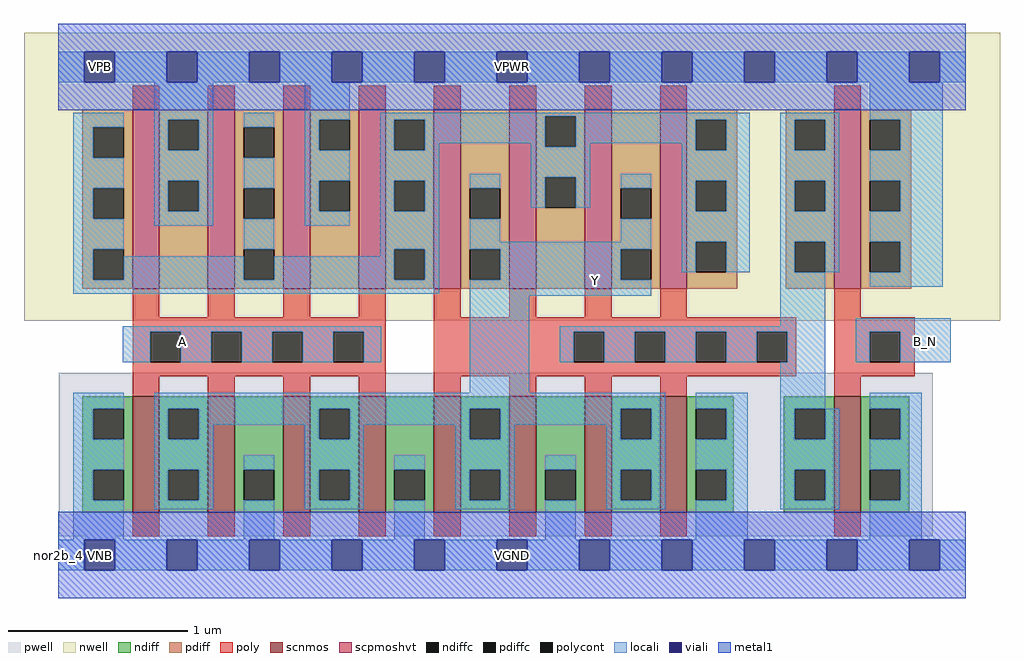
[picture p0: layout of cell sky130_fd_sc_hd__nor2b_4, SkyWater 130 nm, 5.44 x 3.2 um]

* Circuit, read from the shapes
.subckt sky130_fd_sc_hd__nor2b_4 A B_N VGND VNB VPB VPWR Y
XM1 Y A VGND VNB sky130_fd_pr__nfet_01v8 w=0.65 l=0.15 m=4
XM2 Y n1 VGND VNB sky130_fd_pr__nfet_01v8 w=0.65 l=0.15 m=4
XM3 VGND B_N n1 VNB sky130_fd_pr__nfet_01v8 w=0.65 l=0.15
XM4 VPWR A n2 VPB sky130_fd_pr__pfet_01v8_hvt w=1 l=0.15 m=4
XM5 Y n1 n2 VPB sky130_fd_pr__pfet_01v8_hvt w=1 l=0.15 m=4
XM6 VPWR B_N n1 VPB sky130_fd_pr__pfet_01v8_hvt w=1 l=0.15
.ends

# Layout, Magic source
magic
tech sky130A
magscale 1 2
<< nwell >>
rect -38 261 1050 582
<< pwell >>
rect 1 21 975 203
rect 30 -17 64 21
<< scnmos >>
rect 83 47 113 177
rect 167 47 197 177
rect 251 47 281 177
rect 335 47 365 177
rect 419 47 449 177
rect 503 47 533 177
rect 587 47 617 177
rect 671 47 701 177
rect 865 47 895 177
<< scpmoshvt >>
rect 83 297 113 497
rect 167 297 197 497
rect 251 297 281 497
rect 335 297 365 497
rect 419 297 449 497
rect 503 297 533 497
rect 587 297 617 497
rect 671 297 701 497
rect 865 297 895 497
<< ndiff >>
rect 27 163 83 177
rect 27 129 39 163
rect 73 129 83 163
rect 27 95 83 129
rect 27 61 39 95
rect 73 61 83 95
rect 27 47 83 61
rect 113 163 167 177
rect 113 129 123 163
rect 157 129 167 163
rect 113 95 167 129
rect 113 61 123 95
rect 157 61 167 95
rect 113 47 167 61
rect 197 95 251 177
rect 197 61 207 95
rect 241 61 251 95
rect 197 47 251 61
rect 281 163 335 177
rect 281 129 291 163
rect 325 129 335 163
rect 281 95 335 129
rect 281 61 291 95
rect 325 61 335 95
rect 281 47 335 61
rect 365 95 419 177
rect 365 61 375 95
rect 409 61 419 95
rect 365 47 419 61
rect 449 163 503 177
rect 449 129 459 163
rect 493 129 503 163
rect 449 95 503 129
rect 449 61 459 95
rect 493 61 503 95
rect 449 47 503 61
rect 533 95 587 177
rect 533 61 543 95
rect 577 61 587 95
rect 533 47 587 61
rect 617 163 671 177
rect 617 129 627 163
rect 661 129 671 163
rect 617 95 671 129
rect 617 61 627 95
rect 661 61 671 95
rect 617 47 671 61
rect 701 163 753 177
rect 701 129 711 163
rect 745 129 753 163
rect 701 95 753 129
rect 701 61 711 95
rect 745 61 753 95
rect 701 47 753 61
rect 809 163 865 177
rect 809 129 821 163
rect 855 129 865 163
rect 809 95 865 129
rect 809 61 821 95
rect 855 61 865 95
rect 809 47 865 61
rect 895 163 949 177
rect 895 129 905 163
rect 939 129 949 163
rect 895 95 949 129
rect 895 61 905 95
rect 939 61 949 95
rect 895 47 949 61
<< pdiff >>
rect 27 477 83 497
rect 27 443 39 477
rect 73 443 83 477
rect 27 409 83 443
rect 27 375 39 409
rect 73 375 83 409
rect 27 341 83 375
rect 27 307 39 341
rect 73 307 83 341
rect 27 297 83 307
rect 113 485 167 497
rect 113 451 123 485
rect 157 451 167 485
rect 113 417 167 451
rect 113 383 123 417
rect 157 383 167 417
rect 113 297 167 383
rect 197 477 251 497
rect 197 443 207 477
rect 241 443 251 477
rect 197 409 251 443
rect 197 375 207 409
rect 241 375 251 409
rect 197 341 251 375
rect 197 307 207 341
rect 241 307 251 341
rect 197 297 251 307
rect 281 485 335 497
rect 281 451 291 485
rect 325 451 335 485
rect 281 417 335 451
rect 281 383 291 417
rect 325 383 335 417
rect 281 297 335 383
rect 365 485 419 497
rect 365 451 375 485
rect 409 451 419 485
rect 365 417 419 451
rect 365 383 375 417
rect 409 383 419 417
rect 365 341 419 383
rect 365 307 375 341
rect 409 307 419 341
rect 365 297 419 307
rect 449 409 503 497
rect 449 375 459 409
rect 493 375 503 409
rect 449 341 503 375
rect 449 307 459 341
rect 493 307 503 341
rect 449 297 503 307
rect 533 489 587 497
rect 533 455 543 489
rect 577 455 587 489
rect 533 421 587 455
rect 533 387 543 421
rect 577 387 587 421
rect 533 297 587 387
rect 617 409 671 497
rect 617 375 627 409
rect 661 375 671 409
rect 617 341 671 375
rect 617 307 627 341
rect 661 307 671 341
rect 617 297 671 307
rect 701 485 757 497
rect 701 451 711 485
rect 745 451 757 485
rect 701 417 757 451
rect 701 383 711 417
rect 745 383 757 417
rect 701 349 757 383
rect 701 315 711 349
rect 745 315 757 349
rect 701 297 757 315
rect 811 485 865 497
rect 811 451 821 485
rect 855 451 865 485
rect 811 417 865 451
rect 811 383 821 417
rect 855 383 865 417
rect 811 349 865 383
rect 811 315 821 349
rect 855 315 865 349
rect 811 297 865 315
rect 895 485 951 497
rect 895 451 905 485
rect 939 451 951 485
rect 895 417 951 451
rect 895 383 905 417
rect 939 383 951 417
rect 895 349 951 383
rect 895 315 905 349
rect 939 315 951 349
rect 895 297 951 315
<< ndiffc >>
rect 39 129 73 163
rect 39 61 73 95
rect 123 129 157 163
rect 123 61 157 95
rect 207 61 241 95
rect 291 129 325 163
rect 291 61 325 95
rect 375 61 409 95
rect 459 129 493 163
rect 459 61 493 95
rect 543 61 577 95
rect 627 129 661 163
rect 627 61 661 95
rect 711 129 745 163
rect 711 61 745 95
rect 821 129 855 163
rect 821 61 855 95
rect 905 129 939 163
rect 905 61 939 95
<< pdiffc >>
rect 39 443 73 477
rect 39 375 73 409
rect 39 307 73 341
rect 123 451 157 485
rect 123 383 157 417
rect 207 443 241 477
rect 207 375 241 409
rect 207 307 241 341
rect 291 451 325 485
rect 291 383 325 417
rect 375 451 409 485
rect 375 383 409 417
rect 375 307 409 341
rect 459 375 493 409
rect 459 307 493 341
rect 543 455 577 489
rect 543 387 577 421
rect 627 375 661 409
rect 627 307 661 341
rect 711 451 745 485
rect 711 383 745 417
rect 711 315 745 349
rect 821 451 855 485
rect 821 383 855 417
rect 821 315 855 349
rect 905 451 939 485
rect 905 383 939 417
rect 905 315 939 349
<< poly >>
rect 83 497 113 523
rect 167 497 197 523
rect 251 497 281 523
rect 335 497 365 523
rect 419 497 449 523
rect 503 497 533 523
rect 587 497 617 523
rect 671 497 701 523
rect 865 497 895 523
rect 83 265 113 297
rect 167 265 197 297
rect 251 265 281 297
rect 335 265 365 297
rect 83 249 365 265
rect 83 215 103 249
rect 137 215 171 249
rect 205 215 239 249
rect 273 215 307 249
rect 341 215 365 249
rect 83 199 365 215
rect 83 177 113 199
rect 167 177 197 199
rect 251 177 281 199
rect 335 177 365 199
rect 419 265 449 297
rect 503 265 533 297
rect 587 265 617 297
rect 671 265 701 297
rect 865 265 895 297
rect 419 249 823 265
rect 419 215 575 249
rect 609 215 643 249
rect 677 215 711 249
rect 745 215 779 249
rect 813 215 823 249
rect 419 199 823 215
rect 865 249 955 265
rect 865 215 905 249
rect 939 215 955 249
rect 865 199 955 215
rect 419 177 449 199
rect 503 177 533 199
rect 587 177 617 199
rect 671 177 701 199
rect 865 177 895 199
rect 83 21 113 47
rect 167 21 197 47
rect 251 21 281 47
rect 335 21 365 47
rect 419 21 449 47
rect 503 21 533 47
rect 587 21 617 47
rect 671 21 701 47
rect 865 21 895 47
<< polycont >>
rect 103 215 137 249
rect 171 215 205 249
rect 239 215 273 249
rect 307 215 341 249
rect 575 215 609 249
rect 643 215 677 249
rect 711 215 745 249
rect 779 215 813 249
rect 905 215 939 249
<< locali >>
rect 0 527 29 561
rect 63 527 121 561
rect 155 527 213 561
rect 247 527 305 561
rect 339 527 397 561
rect 431 527 489 561
rect 523 527 581 561
rect 615 527 673 561
rect 707 527 765 561
rect 799 527 857 561
rect 891 527 949 561
rect 983 527 1012 561
rect 17 477 73 493
rect 17 443 39 477
rect 17 409 73 443
rect 17 375 39 409
rect 17 341 73 375
rect 107 485 173 527
rect 107 451 123 485
rect 157 451 173 485
rect 107 417 173 451
rect 107 383 123 417
rect 157 383 173 417
rect 107 367 173 383
rect 207 477 241 493
rect 207 409 241 443
rect 17 307 39 341
rect 207 341 241 375
rect 275 485 325 527
rect 275 451 291 485
rect 275 417 325 451
rect 275 383 291 417
rect 275 367 325 383
rect 359 489 771 493
rect 359 485 543 489
rect 359 451 375 485
rect 409 459 543 485
rect 409 451 425 459
rect 359 417 425 451
rect 527 455 543 459
rect 577 485 771 489
rect 577 459 711 485
rect 577 455 593 459
rect 359 383 375 417
rect 409 383 425 417
rect 73 307 207 333
rect 359 341 425 383
rect 359 333 375 341
rect 241 307 375 333
rect 409 307 425 341
rect 17 291 425 307
rect 459 409 493 425
rect 527 421 593 455
rect 695 451 711 459
rect 745 451 771 485
rect 527 387 543 421
rect 577 387 593 421
rect 627 409 661 425
rect 459 349 493 375
rect 627 349 661 375
rect 459 341 661 349
rect 493 307 627 341
rect 695 417 771 451
rect 695 383 711 417
rect 745 383 771 417
rect 695 349 771 383
rect 695 315 711 349
rect 745 315 771 349
rect 805 485 871 493
rect 805 451 821 485
rect 855 451 871 485
rect 805 417 871 451
rect 805 383 821 417
rect 855 383 871 417
rect 805 349 871 383
rect 805 315 821 349
rect 855 315 871 349
rect 905 485 986 527
rect 939 451 986 485
rect 905 417 986 451
rect 939 383 986 417
rect 905 349 986 383
rect 939 315 986 349
rect 459 289 661 307
rect 72 249 360 255
rect 72 215 103 249
rect 137 215 171 249
rect 205 215 239 249
rect 273 215 307 249
rect 341 215 360 249
rect 459 181 525 289
rect 805 255 855 315
rect 905 299 986 315
rect 559 249 855 255
rect 559 215 575 249
rect 609 215 643 249
rect 677 215 711 249
rect 745 215 779 249
rect 813 215 855 249
rect 889 249 995 264
rect 889 215 905 249
rect 939 215 995 249
rect 17 163 73 181
rect 17 129 39 163
rect 17 95 73 129
rect 17 61 39 95
rect 17 17 73 61
rect 107 163 677 181
rect 107 129 123 163
rect 157 145 291 163
rect 157 129 173 145
rect 107 95 173 129
rect 275 129 291 145
rect 325 145 459 163
rect 325 129 341 145
rect 107 61 123 95
rect 157 61 173 95
rect 107 51 173 61
rect 207 95 241 111
rect 207 17 241 61
rect 275 95 341 129
rect 443 129 459 145
rect 493 145 627 163
rect 493 129 509 145
rect 275 61 291 95
rect 325 61 341 95
rect 275 51 341 61
rect 375 95 409 111
rect 375 17 409 61
rect 443 95 509 129
rect 611 129 627 145
rect 661 129 677 163
rect 443 61 459 95
rect 493 61 509 95
rect 443 51 509 61
rect 543 95 577 111
rect 543 17 577 61
rect 611 95 677 129
rect 611 61 627 95
rect 661 61 677 95
rect 611 51 677 61
rect 711 163 769 181
rect 745 129 769 163
rect 711 95 769 129
rect 745 61 769 95
rect 711 17 769 61
rect 805 163 855 215
rect 905 163 963 181
rect 805 129 821 163
rect 855 129 871 163
rect 805 95 871 129
rect 805 61 821 95
rect 855 61 871 95
rect 805 51 871 61
rect 939 129 963 163
rect 905 95 963 129
rect 939 61 963 95
rect 905 17 963 61
rect 0 -17 29 17
rect 63 -17 121 17
rect 155 -17 213 17
rect 247 -17 305 17
rect 339 -17 397 17
rect 431 -17 489 17
rect 523 -17 581 17
rect 615 -17 673 17
rect 707 -17 765 17
rect 799 -17 857 17
rect 891 -17 949 17
rect 983 -17 1012 17
<< viali >>
rect 29 527 63 561
rect 121 527 155 561
rect 213 527 247 561
rect 305 527 339 561
rect 397 527 431 561
rect 489 527 523 561
rect 581 527 615 561
rect 673 527 707 561
rect 765 527 799 561
rect 857 527 891 561
rect 949 527 983 561
rect 29 -17 63 17
rect 121 -17 155 17
rect 213 -17 247 17
rect 305 -17 339 17
rect 397 -17 431 17
rect 489 -17 523 17
rect 581 -17 615 17
rect 673 -17 707 17
rect 765 -17 799 17
rect 857 -17 891 17
rect 949 -17 983 17
<< metal1 >>
rect 0 561 1012 592
rect 0 527 29 561
rect 63 527 121 561
rect 155 527 213 561
rect 247 527 305 561
rect 339 527 397 561
rect 431 527 489 561
rect 523 527 581 561
rect 615 527 673 561
rect 707 527 765 561
rect 799 527 857 561
rect 891 527 949 561
rect 983 527 1012 561
rect 0 496 1012 527
rect 0 17 1012 48
rect 0 -17 29 17
rect 63 -17 121 17
rect 155 -17 213 17
rect 247 -17 305 17
rect 339 -17 397 17
rect 431 -17 489 17
rect 523 -17 581 17
rect 615 -17 673 17
rect 707 -17 765 17
rect 799 -17 857 17
rect 891 -17 949 17
rect 983 -17 1012 17
rect 0 -48 1012 -17
<< labels >>
flabel locali s 950 221 984 255 0 FreeSans 400 0 0 0 B_N
port 2 nsew signal input
flabel locali s 582 289 616 323 0 FreeSans 400 0 0 0 Y
port 7 nsew signal output
flabel locali s 122 221 156 255 0 FreeSans 400 0 0 0 A
port 1 nsew signal input
flabel pwell s 30 -17 64 17 0 FreeSans 200 0 0 0 VNB
port 4 nsew ground bidirectional
flabel nwell s 30 527 64 561 0 FreeSans 200 0 0 0 VPB
port 5 nsew power bidirectional
flabel metal1 s 30 -17 64 17 0 FreeSans 200 0 0 0 VGND
port 3 nsew ground bidirectional abutment
flabel metal1 s 30 527 64 561 0 FreeSans 200 0 0 0 VPWR
port 6 nsew power bidirectional abutment
rlabel comment s 0 0 0 0 4 nor2b_4
rlabel metal1 s 0 -48 1012 48 1 VGND
port 3 nsew ground bidirectional abutment
rlabel metal1 s 0 496 1012 592 1 VPWR
port 6 nsew power bidirectional abutment
<< properties >>
string FIXED_BBOX 0 0 1012 544
string GDS_END 1995056
string GDS_FILE $PDKPATH/libs.ref/sky130_fd_sc_hd/gds/sky130_fd_sc_hd.gds
string GDS_START 1986550
string LEFclass CORE
string LEFsite unithd
string LEFsymmetry X Y R90
string path 0.000 0.000 25.300 0.000 
<< end >>
